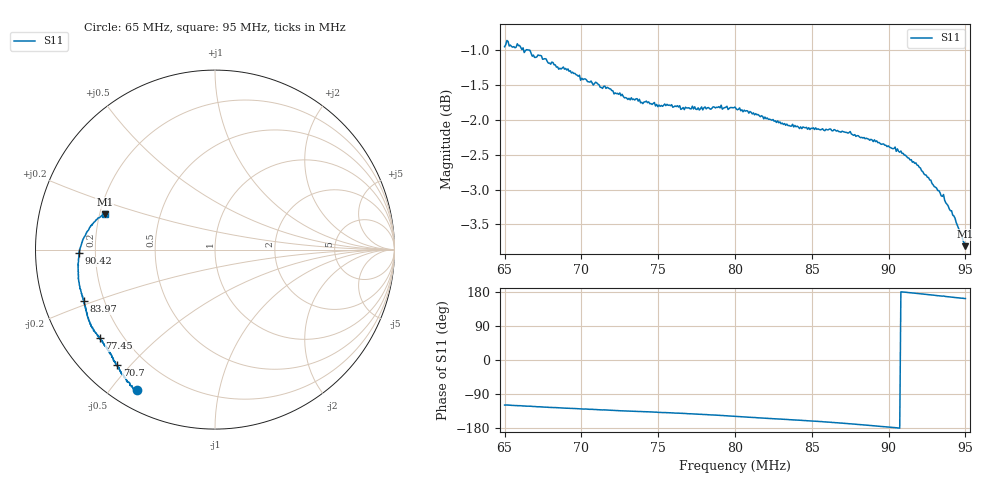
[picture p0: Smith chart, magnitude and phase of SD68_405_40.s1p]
! NanoVNA-App
! Date: 2025-08-02 16:47:32
! Start: 65MHz Stop: 95MHz Points: 401
! S-Parameter data: F S11
# Hz S RI R 50
!  Frequency  S11_Real  S11_Imag
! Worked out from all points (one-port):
!   401 points, 65 MHz to 95 MHz, reference 50 ohm
!   lowest |S11| = -3.8 dB at 95 MHz (marker M1), VSWR 4.63, Z = 11.1 + j7.44 ohm
!   |S11| at or under -10 dB: nowhere
!   S11 on the Smith chart (normalised r, x): 65 MHz: 0.07, -0.59; 70.7 MHz: 0.10, -0.46; 77.45 MHz: 0.12, -0.33; 83.97 MHz: 0.12, -0.19; 90.42 MHz: 0.14, -0.01; 95 MHz: 0.22, +0.15
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6.5e7  -0.4337 -0.7848
6.5225e7  -0.4362 -0.7923
6.56e7  -0.4462 -0.7779
6.59e7  -0.4538 -0.7753
6.6275e7  -0.4617 -0.7586
6.65e7  -0.4708 -0.7577
6.695e7  -0.4775 -0.7403
6.7475e7  -0.4891 -0.7294
6.875e7  -0.5175 -0.6938
7.07e7  -0.5454 -0.6448
7.25e7  -0.576 -0.5985
7.385e7  -0.5868 -0.5689
7.625e7  -0.6258 -0.5195
7.745e7  -0.6419 -0.4917
7.895e7  -0.6734 -0.4538
8e7  -0.6915 -0.4247
8.15e7  -0.7112 -0.3697
8.375e7  -0.7307 -0.2968
8.3975e7  -0.7307 -0.2879
8.6075e7  -0.7506 -0.2175
8.75e7  -0.7629 -0.1588
8.9225e7  -0.7633 -0.0786
9.0425e7  -0.7592 -0.0196
9.125e7  -0.7458 0.0228
9.1925e7  -0.7344 0.0598
9.3425e7  -0.6874 0.1349
9.425e7  -0.6556 0.1714
9.5e7  -0.6139 0.1966
